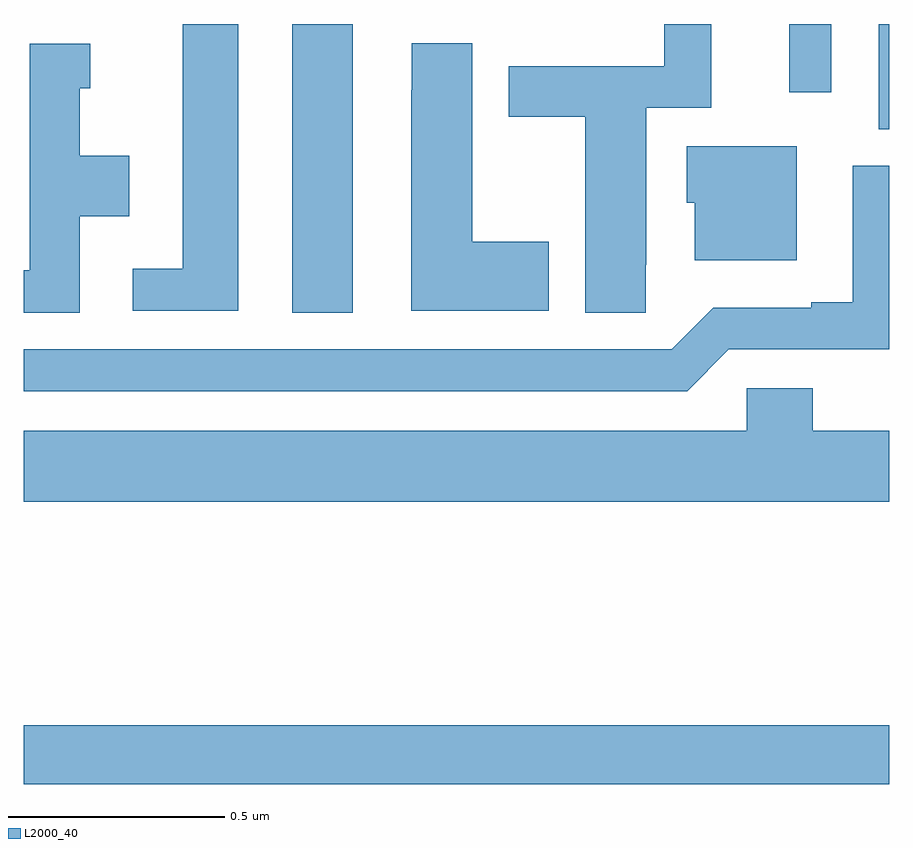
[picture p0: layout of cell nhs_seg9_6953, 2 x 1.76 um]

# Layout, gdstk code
import gdstk
lib = gdstk.Library(unit=1e-6, precision=1e-09)
def R(c, l, rs):  # rectangles x0, y0, x1, y1
    for r in rs: c.add(gdstk.rectangle(r[:2], r[2:], *l))
def P(c, l, *ps):  # polygons
    for p in ps: c.add(gdstk.Polygon(p, *l))
L2000_40 = (2000, 40)

nhs_seg9_6953 = lib.new_cell('nhs_seg9_6953')
R(nhs_seg9_6953, L2000_40, [(198,1219.744,200,1219.88), (198.62,1220.833,198.76,1221.5), (199.976,1221.257,200,1221.5), (199.769,1221.342,199.866,1221.5)])
P(nhs_seg9_6953, L2000_40, [(198.496,1221.5),(198.368,1221.5),(198.368,1220.934),(198.252,1220.934),(198.252,1220.838),(198.496,1220.838)],
  [(199.437,1220.944),(199.438,1220.944),(199.438,1221.306),(199.589,1221.306),(199.589,1221.499),(199.48,1221.499),(199.48,1221.402),(199.121,1221.402),(199.121,1221.286),(199.298,1221.286),(199.298,1220.833),(199.437,1220.833)],
  [(199.213,1220.997),(199.036,1220.997),(199.036,1221.455),(198.897,1221.455),(198.897,1221.347),(198.896,1221.347),(198.896,1220.837),(199.213,1220.837)],
  [(198.13,1221.056),(198.244,1221.056),(198.244,1221.196),(198.13,1221.196),(198.13,1221.351),(198.154,1221.351),(198.154,1221.454),(198.014,1221.454),(198.014,1220.931),(198,1220.931),(198,1220.833),(198.13,1220.833)],
  [(199.786,1221.217),(199.532,1221.217),(199.532,1221.087),(199.55,1221.087),(199.55,1220.954),(199.786,1220.954)],
  [(199.629,1220.748),(200,1220.748),(200,1221.172),(199.916,1221.172),(199.916,1220.857),(199.82,1220.857),(199.82,1220.844),(199.593,1220.844),(199.497,1220.748),(198,1220.748),(198,1220.652),(199.533,1220.652)],
  [(200,1220.56),(199.823,1220.56),(199.823,1220.658),(199.671,1220.658),(199.671,1220.56),(198,1220.56),(198,1220.396),(200,1220.396)])

lib.write_gds('nhs_seg9_6953.gds')
